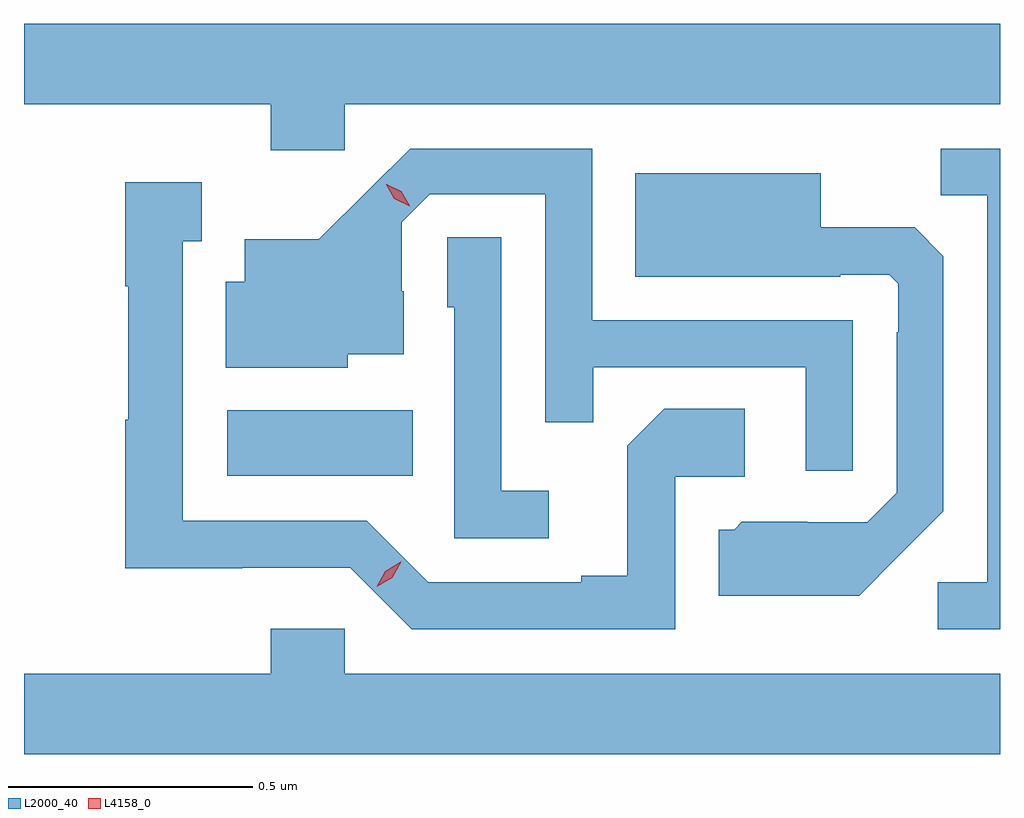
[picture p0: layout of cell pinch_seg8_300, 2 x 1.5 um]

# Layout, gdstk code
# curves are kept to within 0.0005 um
import gdstk
lib = gdstk.Library(unit=1e-6, precision=1e-09)
def R(c, l, rs):  # rectangles x0, y0, x1, y1
    for r in rs: c.add(gdstk.rectangle(r[:2], r[2:], *l))
def P(c, l, *ps):  # polygons
    for p in ps: c.add(gdstk.Polygon(p, *l))
L2000_40 = (2000, 40)
L4158_0 = (4158, 0)

pinch_seg8_300 = lib.new_cell('pinch_seg8_300')
R(pinch_seg8_300, L2000_40, [(516.774,1150.37,517.154,1150.504)])
P(pinch_seg8_300, L2000_40, [(517.014,1151.132),(518.357,1151.132),(518.357,1151.296),(516.357,1151.296),(516.357,1151.132),(516.863,1151.132),(516.863,1151.037),(517.014,1151.037)],
  [(518.055,1150.689),(517.521,1150.689),(517.521,1151.04),(517.148,1151.04),(516.961,1150.855),(516.809,1150.855),(516.809,1150.768),(516.77,1150.768),(516.77,1150.592),(517.02,1150.592),(517.02,1150.619),(517.135,1150.619),(517.135,1150.748),(517.131,1150.748),(517.131,1150.89),(517.188,1150.947),(517.425,1150.947),(517.425,1150.48),(517.523,1150.48),(517.523,1150.593),(517.959,1150.593),(517.959,1150.38),(518.055,1150.38)],
  [(518.357,1151.04),(518.236,1151.04),(518.236,1150.945),(518.331,1150.945),(518.331,1150.152),(518.229,1150.152),(518.229,1150.056),(518.357,1150.056)],
  [(518.149,1150.205),(518.241,1150.298),(518.241,1150.82),(518.182,1150.879),(517.99,1150.879),(517.99,1150.99),(517.61,1150.99),(517.61,1150.778),(518.03,1150.778),(518.03,1150.782),(518.13,1150.782),(518.148,1150.764),(518.148,1150.664),(518.145,1150.664),(518.145,1150.335),(518.085,1150.275),(517.962,1150.275),(517.962,1150.276),(517.828,1150.276),(517.812,1150.26),(517.781,1150.26),(517.781,1150.124),(518.069,1150.124)],
  [(517.692,1150.368),(517.834,1150.368),(517.834,1150.508),(517.669,1150.508),(517.593,1150.432),(517.593,1150.165),(517.499,1150.165),(517.499,1150.152),(517.185,1150.152),(517.059,1150.278),(516.682,1150.278),(516.682,1150.851),(516.721,1150.851),(516.721,1150.972),(516.564,1150.972),(516.564,1150.759),(516.571,1150.759),(516.571,1150.485),(516.564,1150.485),(516.564,1150.181),(516.804,1150.181),(516.804,1150.182),(517.026,1150.182),(517.152,1150.056),(517.692,1150.056)],
  [(517.432,1150.339),(517.335,1150.339),(517.335,1150.859),(517.224,1150.859),(517.224,1150.716),(517.239,1150.716),(517.239,1150.242),(517.432,1150.242)],
  [(518.357,1149.964),(517.014,1149.964),(517.014,1150.057),(516.863,1150.057),(516.863,1149.964),(516.357,1149.964),(516.357,1149.8),(518.357,1149.8)])
P(pinch_seg8_300, L4158_0, [(517.147,1150.923),(517.116,1150.938),(517.099,1150.967),(517.099,1150.968),(517.1,1150.968),(517.13,1150.953),(517.147,1150.924),(517.147,1150.923)],
  [(517.08,1150.143),(517.08,1150.143),(517.097,1150.175),(517.129,1150.194),(517.13,1150.194),(517.13,1150.194),(517.112,1150.161),(517.08,1150.143)])

lib.write_gds('pinch_seg8_300.gds')
